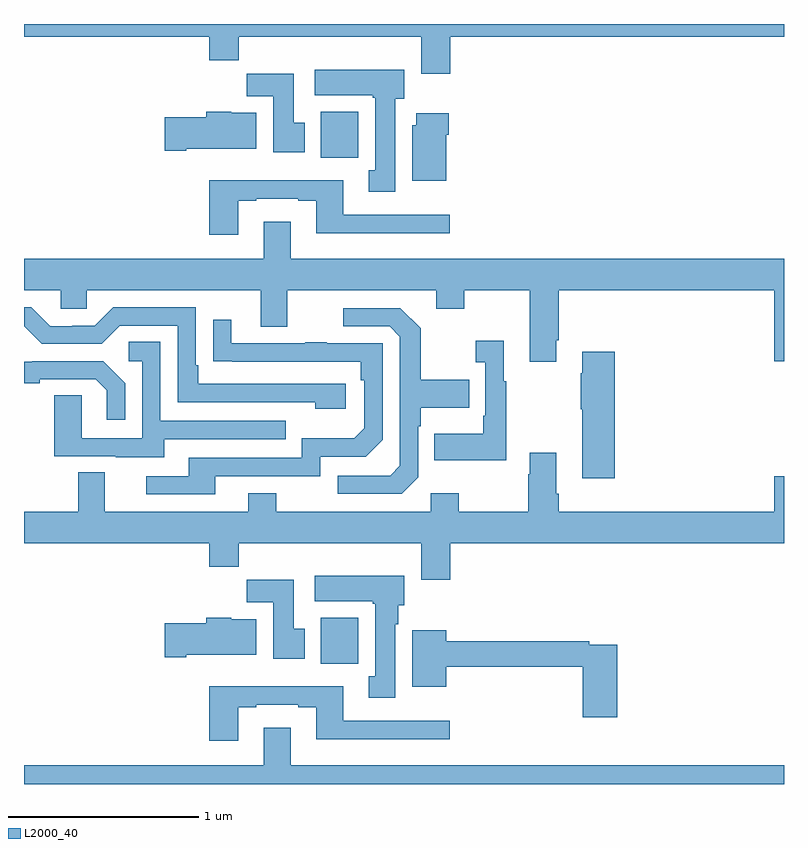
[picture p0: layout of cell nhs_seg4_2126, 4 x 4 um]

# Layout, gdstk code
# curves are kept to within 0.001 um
import gdstk
lib = gdstk.Library(unit=1e-6, precision=1e-09)
def R(c, l, rs):  # rectangles x0, y0, x1, y1
    for r in rs: c.add(gdstk.rectangle(r[:2], r[2:], *l))
def P(c, l, *ps):  # polygons
    for p in ps: c.add(gdstk.Polygon(p, *l))
L2000_40 = (2000, 40)

nhs_seg4_2126 = lib.new_cell('nhs_seg4_2126')
R(nhs_seg4_2126, L2000_40, [(222.563,781.532,222.76,781.774), (222.563,784.196,222.76,784.438)])
P(nhs_seg4_2126, L2000_40, [(223.244,784.832),(225,784.832),(225,784.9),(221,784.9),(221,784.832),(221.975,784.832),(221.975,784.708),(222.131,784.708),(222.131,784.832),(223.091,784.832),(223.091,784.638),(223.244,784.638)],
  [(222.955,784.506),(223,784.506),(223,784.66),(222.531,784.66),(222.531,784.526),(222.835,784.526),(222.835,784.513),(222.848,784.513),(222.848,784.13),(222.815,784.13),(222.815,784.017),(222.955,784.017)],
  [(222.478,784.38),(222.421,784.38),(222.421,784.639),(222.172,784.639),(222.172,784.52),(222.311,784.52),(222.311,784.224),(222.478,784.224)],
  [(221.854,784.244),(222.223,784.244),(222.223,784.432),(222.09,784.432),(222.09,784.438),(221.96,784.438),(221.96,784.41),(221.742,784.41),(221.742,784.232),(221.854,784.232)],
  [(223.222,784.316),(223.235,784.316),(223.235,784.429),(223.064,784.429),(223.064,784.368),(223.043,784.368),(223.043,784.076),(223.222,784.076)],
  [(222.127,783.969),(222.223,783.969),(222.223,783.981),(222.443,783.981),(222.443,783.969),(222.539,783.969),(222.539,783.8),(223.24,783.8),(223.24,783.897),(222.679,783.897),(222.679,784.078),(221.975,784.078),(221.975,783.792),(222.127,783.792)],
  [(223.801,783.235),(223.814,783.235),(223.814,783.5),(224.948,783.5),(224.948,783.126),(225,783.126),(225,783.664),(222.403,783.664),(222.403,783.859),(222.263,783.859),(222.263,783.664),(221,783.664),(221,783.5),(221.193,783.5),(221.193,783.402),(221.331,783.402),(221.331,783.5),(222.245,783.5),(222.245,783.306),(222.385,783.306),(222.385,783.5),(223.169,783.5),(223.169,783.401),(223.317,783.401),(223.317,783.5),(223.661,783.5),(223.661,783.123),(223.801,783.123)],
  [(222.694,783.006),(221.917,783.006),(221.917,783.103),(221.904,783.103),(221.904,783.408),(221.469,783.408),(221.373,783.312),(221.255,783.312),(221.255,783.309),(221.139,783.309),(221.039,783.409),(221,783.409),(221,783.309),(221.094,783.216),(221.409,783.216),(221.505,783.312),(221.808,783.312),(221.808,782.91),(222.533,782.91),(222.533,782.876),(222.694,782.876)],
  [(223.074,782.514),(223.074,782.783),(223.087,782.783),(223.087,782.879),(223.343,782.879),(223.343,783.027),(223.087,783.027),(223.087,783.299),(222.981,783.405),(222.681,783.405),(222.681,783.309),(222.924,783.309),(222.978,783.255),(222.978,782.574),(222.927,782.523),(222.651,782.523),(222.651,782.427),(222.987,782.427)],
  [(222.007,782.52),(222.558,782.52),(222.558,782.622),(222.798,782.622),(222.888,782.712),(222.888,783.219),(222.593,783.219),(222.593,783.224),(222.481,783.224),(222.481,783.219),(222.091,783.219),(222.091,783.343),(221.995,783.343),(221.995,783.124),(222.772,783.123),(222.772,783.026),(222.792,783.026),(222.792,782.772),(222.739,782.719),(222.462,782.719),(222.462,782.616),(221.867,782.616),(221.867,782.52),(221.643,782.52),(221.643,782.424),(222.007,782.424)],
  [(223.537,783.019),(223.525,783.019),(223.525,783.232),(223.377,783.232),(223.377,783.119),(223.428,783.119),(223.428,782.839),(223.416,782.839),(223.416,782.743),(223.159,782.743),(223.159,782.603),(223.537,782.603)],
  [(221.737,782.715),(222.377,782.715),(222.377,782.811),(221.718,782.811),(221.718,783.227),(221.55,783.227),(221.55,783.126),(221.622,783.126),(221.622,782.721),(221.304,782.721),(221.304,782.945),(221.159,782.945),(221.159,782.625),(221.483,782.625),(221.483,782.621),(221.737,782.621)],
  [(224.11,783.175),(223.937,783.175),(223.937,783.062),(223.93,783.062),(223.93,782.873),(223.937,782.873),(223.937,782.508),(224.11,782.508)],
  [(221.532,783.01),(221.416,783.126),(221.044,783.126),(221.044,783.123),(221,783.123),(221,783.008),(221.083,783.008),(221.083,783.03),(221.378,783.03),(221.435,782.973),(221.435,782.817),(221.532,782.817)],
  [(223.244,782.168),(225,782.168),(225,782.521),(224.948,782.521),(224.948,782.332),(223.814,782.332),(223.814,782.428),(223.801,782.428),(223.801,782.644),(223.661,782.644),(223.661,782.531),(223.654,782.531),(223.654,782.332),(223.287,782.332),(223.287,782.431),(223.14,782.431),(223.14,782.332),(222.327,782.332),(222.327,782.431),(222.179,782.431),(222.179,782.332),(221.425,782.332),(221.425,782.54),(221.285,782.54),(221.285,782.332),(221,782.332),(221,782.168),(221.975,782.168),(221.975,782.044),(222.131,782.044),(222.131,782.168),(223.091,782.168),(223.091,781.974),(223.244,781.974)],
  [(222.955,781.742),(222.97,781.742),(222.97,781.842),(223,781.842),(223,781.996),(222.531,781.996),(222.531,781.862),(222.835,781.862),(222.835,781.849),(222.848,781.849),(222.848,781.466),(222.815,781.466),(222.815,781.353),(222.955,781.353)],
  [(222.478,781.716),(222.421,781.716),(222.421,781.975),(222.172,781.975),(222.172,781.856),(222.311,781.856),(222.311,781.56),(222.478,781.56)],
  [(221.854,781.58),(222.223,781.58),(222.223,781.768),(222.09,781.768),(222.09,781.774),(221.96,781.774),(221.96,781.746),(221.742,781.746),(221.742,781.568),(221.854,781.568)],
  [(224.123,781.632),(223.976,781.632),(223.976,781.652),(223.222,781.652),(223.222,781.708),(223.043,781.708),(223.043,781.412),(223.222,781.412),(223.222,781.516),(223.94,781.516),(223.94,781.251),(224.123,781.251)],
  [(222.127,781.305),(222.223,781.305),(222.223,781.317),(222.443,781.317),(222.443,781.305),(222.539,781.305),(222.539,781.136),(223.24,781.136),(223.24,781.233),(222.679,781.233),(222.679,781.414),(221.975,781.414),(221.975,781.128),(222.127,781.128)],
  [(225,781),(222.403,781),(222.403,781.195),(222.263,781.195),(222.263,781),(221,781),(221,780.9),(225,780.9)])

lib.write_gds('nhs_seg4_2126.gds')
